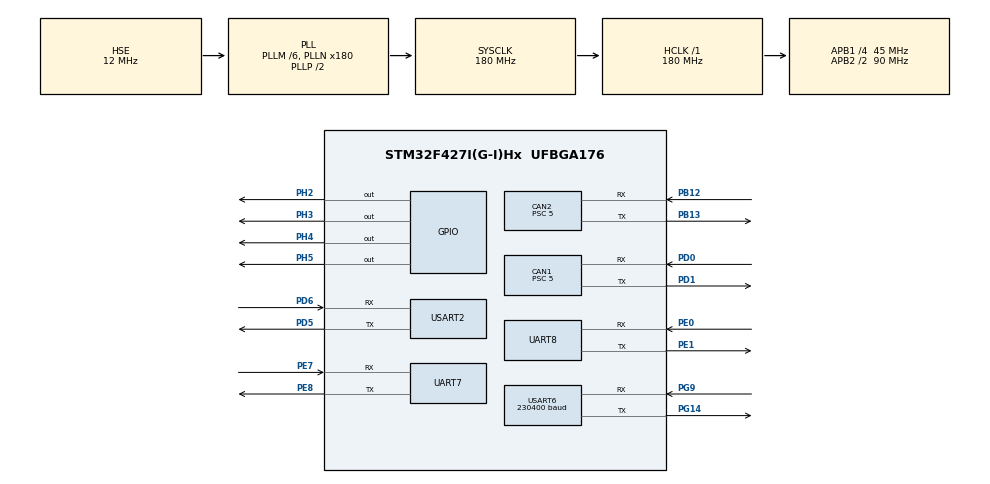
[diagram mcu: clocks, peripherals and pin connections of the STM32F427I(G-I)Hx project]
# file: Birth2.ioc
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CAN1.ABOM=ENABLE
CAN1.BS1=CAN_BS1_3TQ
CAN1.BS2=CAN_BS2_5TQ
CAN1.CalculateBaudRate=1000000
CAN1.CalculateTimeBit=1000
CAN1.CalculateTimeQuantum=111.11111111111111
CAN1.Prescaler=5
CAN2.ABOM=ENABLE
CAN2.BS1=CAN_BS1_3TQ
CAN2.BS2=CAN_BS2_5TQ
CAN2.CalculateBaudRate=1000000
CAN2.CalculateTimeBit=1000
CAN2.CalculateTimeQuantum=111.11111111111111
CAN2.Prescaler=5
CAN2.SJW=CAN_SJW_4TQ
Dma.Request0=UART8_RX
Dma.Request1=UART7_RX
Dma.UART7_RX.1.Direction=DMA_PERIPH_TO_MEMORY
Dma.UART7_RX.1.FIFOMode=DMA_FIFOMODE_DISABLE
Dma.UART7_RX.1.Instance=DMA1_Stream3
Dma.UART7_RX.1.MemDataAlignment=DMA_MDATAALIGN_BYTE
Dma.UART7_RX.1.MemInc=DMA_MINC_ENABLE
Dma.UART7_RX.1.Mode=DMA_NORMAL
Dma.UART7_RX.1.PeriphDataAlignment=DMA_PDATAALIGN_BYTE
Dma.UART7_RX.1.PeriphInc=DMA_PINC_DISABLE
Dma.UART7_RX.1.Priority=DMA_PRIORITY_VERY_HIGH
Dma.UART8_RX.0.Direction=DMA_PERIPH_TO_MEMORY
Dma.UART8_RX.0.FIFOMode=DMA_FIFOMODE_DISABLE
Dma.UART8_RX.0.Instance=DMA1_Stream6
Dma.UART8_RX.0.MemDataAlignment=DMA_MDATAALIGN_BYTE
Dma.UART8_RX.0.MemInc=DMA_MINC_ENABLE
Dma.UART8_RX.0.Mode=DMA_CIRCULAR
Dma.UART8_RX.0.PeriphDataAlignment=DMA_PDATAALIGN_BYTE
Dma.UART8_RX.0.PeriphInc=DMA_PINC_DISABLE
Dma.UART8_RX.0.Priority=DMA_PRIORITY_LOW
FREERTOS.Tasks01=defaultTask,0,256,StartDefaultTask,Default,NULL,Dynamic,NULL,NULL;PID_Control,-3,256,PID_Control_Function,Default,NULL,Dynamic,NULL,NULL;Move_control,-3,256,Move_control_task,Default,NULL,Dynamic,NULL,NULL
FREERTOS.configMINIMAL_STACK_SIZE=128
Mcu.Family=STM32F4
Mcu.Name=STM32F427I(G-I)Hx
Mcu.Package=UFBGA176
NVIC.CAN1_RX0_IRQn=true\:5\:0\:false\:false\:true\:true\:true\:true\:true
NVIC.CAN1_TX_IRQn=true\:5\:0\:false\:false\:true\:true\:true\:true\:true
NVIC.CAN2_RX0_IRQn=true\:5\:0\:false\:false\:true\:true\:true\:true\:true
NVIC.CAN2_TX_IRQn=true\:5\:0\:false\:false\:true\:true\:true\:true\:true
NVIC.DMA1_Stream3_IRQn=true\:5\:0\:false\:false\:true\:true\:false\:true\:true
NVIC.DMA1_Stream6_IRQn=true\:5\:0\:false\:false\:true\:true\:false\:true\:true
NVIC.PriorityGroup=NVIC_PRIORITYGROUP_4
NVIC.TIM6_DAC_IRQn=true\:15\:0\:false\:false\:true\:false\:false\:true\:true
NVIC.TIM7_IRQn=true\:5\:0\:false\:false\:true\:true\:true\:true\:true
NVIC.TimeBase=TIM6_DAC_IRQn
NVIC.TimeBaseIP=TIM6
NVIC.USART2_IRQn=true\:5\:0\:false\:false\:true\:true\:true\:true\:true
NVIC.USART6_IRQn=true\:5\:0\:false\:false\:true\:true\:true\:true\:true
PB12.Mode=CAN_Activate
PB12.Signal=CAN2_RX
PB13.Mode=CAN_Activate
PB13.Signal=CAN2_TX
PD0.Mode=CAN_Activate
PD0.Signal=CAN1_RX
PD1.Mode=CAN_Activate
PD1.Signal=CAN1_TX
PD5.Mode=Asynchronous
PD5.Signal=USART2_TX
PD6.Mode=Asynchronous
PD6.Signal=USART2_RX
PE0.Mode=Asynchronous
PE0.Signal=UART8_RX
PE1.Mode=Asynchronous
PE1.Signal=UART8_TX
PE7.Mode=Asynchronous
PE7.Signal=UART7_RX
PE8.Mode=Asynchronous
PE8.Signal=UART7_TX
PG14.Mode=Asynchronous
PG14.Signal=USART6_TX
PG9.Mode=Asynchronous
PG9.Signal=USART6_RX
PH0/OSC_IN.Mode=HSE-External-Oscillator
PH0/OSC_IN.Signal=RCC_OSC_IN
PH1/OSC_OUT.Mode=HSE-External-Oscillator
PH1/OSC_OUT.Signal=RCC_OSC_OUT
PH2.GPIO_PuPd=GPIO_PULLUP
PH2.GPIO_Speed=GPIO_SPEED_FREQ_VERY_HIGH
PH2.PinState=GPIO_PIN_SET
PH2.Signal=GPIO_Output
PH3.GPIO_PuPd=GPIO_PULLUP
PH3.GPIO_Speed=GPIO_SPEED_FREQ_VERY_HIGH
PH3.PinState=GPIO_PIN_SET
PH3.Signal=GPIO_Output
PH4.GPIO_ModeDefaultOutputPP=GPIO_MODE_OUTPUT_PP
PH4.GPIO_PuPd=GPIO_PULLUP
PH4.GPIO_Speed=GPIO_SPEED_FREQ_VERY_HIGH
PH4.PinState=GPIO_PIN_SET
PH4.Signal=GPIO_Output
PH5.GPIO_PuPd=GPIO_PULLUP
PH5.GPIO_Speed=GPIO_SPEED_FREQ_VERY_HIGH
PH5.PinState=GPIO_PIN_SET
PH5.Signal=GPIO_Output
ProjectManager.HeapSize=0x200
ProjectManager.StackSize=0x400
ProjectManager.TargetToolchain=MDK-ARM V5
RCC.48MHZClocksFreq_Value=90000000
RCC.AHBFreq_Value=180000000
RCC.APB1CLKDivider=RCC_HCLK_DIV4
RCC.APB1Freq_Value=45000000
RCC.APB1TimFreq_Value=90000000
RCC.APB2CLKDivider=RCC_HCLK_DIV2
RCC.APB2Freq_Value=90000000
RCC.APB2TimFreq_Value=180000000
RCC.CortexFreq_Value=180000000
RCC.HCLKFreq_Value=180000000
RCC.HSE_VALUE=12000000
RCC.HSI_VALUE=16000000
RCC.LSE_VALUE=32768
RCC.PLLM=6
RCC.PLLN=180
RCC.PLLSourceVirtual=RCC_PLLSOURCE_HSE
RCC.SYSCLKFreq_VALUE=180000000
RCC.SYSCLKSource=RCC_SYSCLKSOURCE_PLLCLK
RCC.VCOOutputFreq_Value=360000000
TIM7.AutoReloadPreload=TIM_AUTORELOAD_PRELOAD_ENABLE
TIM7.Period=4999
TIM7.Prescaler=8999
UART7.VirtualMode=Asynchronous
UART8.VirtualMode=Asynchronous
USART2.VirtualMode=VM_ASYNC
USART6.BaudRate=230400
USART6.VirtualMode=VM_ASYNC
VP_FREERTOS_VS_CMSIS_V1.Mode=CMSIS_V1
VP_SYS_VS_tim6.Mode=TIM6
VP_TIM7_VS_ClockSourceINT.Mode=Enable_Timer
board=custom

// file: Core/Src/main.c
/* USER CODE BEGIN Header */
/**
  ******************************************************************************
  * @file           : main.c
  * @brief          : Main program body
  ******************************************************************************
  * @attention
  *
  * Copyright (c) 2024 STMicroelectronics.
  * All rights reserved.
  *
  * This software is licensed under terms that can be found in the LICENSE file
  * in the root directory of this software component.
  * If no LICENSE file comes with this software, it is provided AS-IS.
  *
  ******************************************************************************
  */
/* USER CODE END Header */
#include "main.h"
#include "cmsis_os.h"
#include "can.h"
#include "dma.h"
#include "tim.h"
#include "usart.h"
#include "gpio.h"

/* USER CODE BEGIN Includes */
#include "CAN_receive.h"
#include "pid.h"
/* USER CODE END Includes */

void SystemClock_Config(void);
void MX_FREERTOS_Init(void);

/* USER CODE BEGIN 0 */
extern void USR_UartInit(void);
extern void can_filter_init(void);
const motor_measure_t *motor_data_0,*motor_data_1,*motor_data_2,*motor_data_3;
pid_type_def motor_pid_0,motor_pid_1,motor_pid_2,motor_pid_3;					//????PID???????
pid_type_def angle_pid,rof_pid;
float set_speed_0,set_speed_1,set_speed_2,set_speed_3 =0;
extern uint8_t RxByte,Jetson_RxByte;
extern uint8_t Uart3_Receive_buf[1];
const fp32 PID_data_0[8]={2.8f, 0.08f, 1.4f, 5, 3, 3, 0.02, 0.02};	//P,I,D,bas_kp,kp_gain,max_I,cp,ci
const fp32 PID_data_1[8]={2.8f, 0.08f, 1.4f, 5, 3, 3, 0.02, 0.02};	//P,I,D,bas_kp,kp_gain,max_I,cp,ci
const fp32 PID_data_2[8]={2.8f, 0.08f, 1.4f, 5, 3, 3, 0.02, 0.02};	//P,I,D,bas_kp,kp_gain,max_I,cp,ci
const fp32 PID_data_3[8]={2.8f, 0.08f, 1.4f, 5, 3, 3, 0.02, 0.02};	//P,I,D,bas_kp,kp_gain,max_I,cp,ci

int inital_all_flag = 0;

const fp32 PID_data_4[8]={30, 0, 0, 8, 0 , 0, 0.02, 0.02};	//P,I,D,bas_kp,kp_gain,max_I,cp,ci

//tof
const fp32 PID_tof_data[8]={2.4f, 0, 0.12f, 3, 0, 0, 0.02, 0.02};	//P,I,D,bas_kp,kp_gain,max_I,cp,ci
/* USER CODE END 0 */

int main(void)
{

  /* MCU Configuration--------------------------------------------------------*/

  /* Reset of all peripherals, Initializes the Flash interface and the Systick. */
  HAL_Init();

  /* Configure the system clock */
  SystemClock_Config();

  /* Initialize all configured peripherals */
  MX_GPIO_Init();

  MX_DMA_Init();
  MX_UART7_Init();
  MX_UART8_Init();

  MX_CAN1_Init();
  MX_CAN2_Init();
	USR_UartInit();
	can_filter_init();
	initFilters();

	MX_USART6_UART_Init();
	MX_USART2_UART_Init();
  MX_TIM7_Init();
  /* USER CODE BEGIN 2 */
	HAL_TIM_Base_Start_IT(&htim7);
	HAL_UART_Receive_IT(&huart2, &RxByte, 1);
	HAL_UART_Receive_IT(&huart6,Uart3_Receive_buf,sizeof(Uart3_Receive_buf));//串口5回调函数执行完毕之后，需要再次开启接收中断等待下一次接收中断的发生

	motor_data_0 = get_chassis_motor_measure_point(0);
	motor_data_1 = get_chassis_motor_measure_point(1);
	motor_data_2 = get_chassis_motor_measure_point(2);
	motor_data_3 = get_chassis_motor_measure_point(3);
	PID_init(&motor_pid_0,PID_POSITION,PID_data_0,3000,3000);
	PID_init(&motor_pid_1,PID_POSITION,PID_data_1,3000,3000);
	PID_init(&motor_pid_2,PID_POSITION,PID_data_2,3000,3000);
	PID_init(&motor_pid_3,PID_POSITION,PID_data_3,3000,3000);
  PID_init(&angle_pid,PID_POSITION,PID_data_4,1000,1000);
	PID_init(&rof_pid,PID_POSITION,PID_tof_data,800,800);
	HAL_Delay(1000);

  /* USER CODE END 2 */

  /* Call init function for freertos objects (in freertos.c) */
  MX_FREERTOS_Init();

  /* Start scheduler */
  osKernelStart();

  /* We should never get here as control is now taken by the scheduler */
  /* Infinite loop */
  while (1)
  {

  }
}

void SystemClock_Config(void)
{
  RCC_OscInitTypeDef RCC_OscInitStruct = {0};
  RCC_ClkInitTypeDef RCC_ClkInitStruct = {0};

  /** Configure the main internal regulator output voltage
  */
  __HAL_RCC_PWR_CLK_ENABLE();
  __HAL_PWR_VOLTAGESCALING_CONFIG(PWR_REGULATOR_VOLTAGE_SCALE1);

  /** Initializes the RCC Oscillators according to the specified parameters
  * in the RCC_OscInitTypeDef structure.
  */
  RCC_OscInitStruct.OscillatorType = RCC_OSCILLATORTYPE_HSE;
  RCC_OscInitStruct.HSEState = RCC_HSE_ON;
  RCC_OscInitStruct.PLL.PLLState = RCC_PLL_ON;
  RCC_OscInitStruct.PLL.PLLSource = RCC_PLLSOURCE_HSE;
  RCC_OscInitStruct.PLL.PLLM = 6;
  RCC_OscInitStruct.PLL.PLLN = 180;
  RCC_OscInitStruct.PLL.PLLP = RCC_PLLP_DIV2;
  RCC_OscInitStruct.PLL.PLLQ = 4;
  if (HAL_RCC_OscConfig(&RCC_OscInitStruct) != HAL_OK)
  {
    Error_Handler();
  }

  /** Activate the Over-Drive mode
  */
  if (HAL_PWREx_EnableOverDrive() != HAL_OK)
  {
    Error_Handler();
  }

  /** Initializes the CPU, AHB and APB buses clocks
  */
  RCC_ClkInitStruct.ClockType = RCC_CLOCKTYPE_HCLK|RCC_CLOCKTYPE_SYSCLK
                              |RCC_CLOCKTYPE_PCLK1|RCC_CLOCKTYPE_PCLK2;
  RCC_ClkInitStruct.SYSCLKSource = RCC_SYSCLKSOURCE_PLLCLK;
  RCC_ClkInitStruct.AHBCLKDivider = RCC_SYSCLK_DIV1;
  RCC_ClkInitStruct.APB1CLKDivider = RCC_HCLK_DIV4;
  RCC_ClkInitStruct.APB2CLKDivider = RCC_HCLK_DIV2;

  if (HAL_RCC_ClockConfig(&RCC_ClkInitStruct, FLASH_LATENCY_5) != HAL_OK)
  {
    Error_Handler();
  }
}

void HAL_TIM_PeriodElapsedCallback(TIM_HandleTypeDef *htim)
{
  if (htim->Instance == TIM6) {
    HAL_IncTick();
  }
  /* USER CODE BEGIN Callback 1 */
  if (htim->Instance == TIM7) {
		inital_all_flag += 1;
  }
  /* USER CODE END Callback 1 */
}

void Error_Handler(void)
{
  __disable_irq();
  while (1)
  {
  }
}

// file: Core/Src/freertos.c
/* USER CODE BEGIN Header */
/**
 ******************************************************************************
 * File Name          : freertos.c
 * Description        : Code for freertos applications
 ******************************************************************************
 * @attention
 *
 * Copyright (c) 2024 STMicroelectronics.
 * All rights reserved.
 *
 * This software is licensed under terms that can be found in the LICENSE file
 * in the root directory of this software component.
 * If no LICENSE file comes with this software, it is provided AS-IS.
 *
 ******************************************************************************
 */
/* USER CODE END Header */

#include "FreeRTOS.h"
#include "task.h"
#include "main.h"
#include "cmsis_os.h"

/* USER CODE BEGIN Includes */
#include "can.h"
#include <string.h>
#include <stdio.h>
#include "CAN_receive.h"
#include "pid.h"
#include "IMU.h"
#include "move_way.h"
#include "Steering.h"
/* USER CODE END Includes */

/* USER CODE BEGIN Variables */
extern unsigned char uart8Rx[32],uart6Tx[32],uart7Rx[32];
extern UART_HandleTypeDef huart8,huart7,huart6,huart2;
extern unsigned int jeston_flag;
extern uint8_t RxByte;
extern void ANO_sent_data(int16 A, int16 B, int16 C, int16 D, int16 E, int16 F, int16 G, int16 H, int16 I, int16 J);
extern pid_type_def motor_pid_0,motor_pid_1,motor_pid_2,motor_pid_3,angle_pid,rof_pid;
float vx,vy,vw = 0;
int set_v,set_spd[4];
extern uint8_t uart6Rx[32];
extern uint16_t uart6RxLength;
extern float set_speed_0,set_speed_1,set_speed_2,set_speed_3;
extern motor_measure_t *motor_data_0,*motor_data_1,*motor_data_2,*motor_data_3;
extern int test_flag;
extern char jetson_data[2];
extern void Jetson_read(unsigned char *data);
int st = 0;
float error_tof_y,error_tof_x = 0;
extern int waiting_up,half_move;
int rolling_flag =0;
float turning_angle = 0;
int go_to_roll = 0;
float comp_angle = 0;
int stt = 3;
extern int CR_flag,N_flag;
int crmm = 3;
char last_jetson_data[2];
extern uint16_t distance;
extern int level[5];
extern pid_type_def angle_pid,rof_pid;
int tof_y = 0;
int tof_x = 0;
extern uint16 TOF_value[4];
extern TIM_HandleTypeDef htim7;
extern int inital_all_flag;
extern int ending;
int temp = 0;
int temp2 = 0;
int jk_flag = 0;
/* USER CODE END Variables */
osThreadId defaultTaskHandle;
osThreadId PID_ControlHandle;
osThreadId Move_controlHandle;

/* USER CODE BEGIN FunctionPrototypes */

extern uint8 up_done_flag;
void move_solution(float vx, float vy, float vw){
  static float rotate_ratio_f = 1.;
  static float wheel_rpm_ratio = 1.;
  static float rotate_ratio_b = 1.;
    //wheel_rpm_ratio = 60.0f/(PERIMETER*CHASSIS_DECELE_RATIO); //mm/s = 60/(???????*?????(19??1)) rpm
    //rotate_ratio_f =  (WHEELBASE+WHEELTRACK)/2.0f/RADIAN_COEF; //(rad/s)/57.3 = deg/s
    set_speed_0 = (-vy + vx + vw * rotate_ratio_f) * wheel_rpm_ratio;
    set_speed_1 = (vy + vx + vw * rotate_ratio_b) * wheel_rpm_ratio;
    set_speed_2 = (vy - vx + vw * rotate_ratio_f) * wheel_rpm_ratio;
    set_speed_3 = (-vy - vx + vw * rotate_ratio_b) * wheel_rpm_ratio;
}

/* USER CODE END FunctionPrototypes */

void StartDefaultTask(void const * argument);
void PID_Control_Function(void const * argument);
void Move_control_task(void const * argument);

void MX_FREERTOS_Init(void); /* (MISRA C 2004 rule 8.1) */

/* GetIdleTaskMemory prototype (linked to static allocation support) */
void vApplicationGetIdleTaskMemory( StaticTask_t **ppxIdleTaskTCBBuffer, StackType_t **ppxIdleTaskStackBuffer, uint32_t *pulIdleTaskStackSize );

/* USER CODE BEGIN GET_IDLE_TASK_MEMORY */
static StaticTask_t xIdleTaskTCBBuffer;
static StackType_t xIdleStack[configMINIMAL_STACK_SIZE];

void vApplicationGetIdleTaskMemory(StaticTask_t **ppxIdleTaskTCBBuffer, StackType_t **ppxIdleTaskStackBuffer, uint32_t *pulIdleTaskStackSize)
{
  *ppxIdleTaskTCBBuffer = &xIdleTaskTCBBuffer;
  *ppxIdleTaskStackBuffer = &xIdleStack[0];
  *pulIdleTaskStackSize = configMINIMAL_STACK_SIZE;
  /* place for user code */
}
/* USER CODE END GET_IDLE_TASK_MEMORY */

void MX_FREERTOS_Init(void) {

  /* Create the thread(s) */
  /* definition and creation of defaultTask */
  osThreadDef(defaultTask, StartDefaultTask, osPriorityNormal, 0, 256);
  defaultTaskHandle = osThreadCreate(osThread(defaultTask), NULL);

  /* definition and creation of PID_Control */
  osThreadDef(PID_Control, PID_Control_Function, osPriorityIdle, 0, 256);
  PID_ControlHandle = osThreadCreate(osThread(PID_Control), NULL);

  /* definition and creation of Move_control */
  osThreadDef(Move_control, Move_control_task, osPriorityIdle, 0, 256);
  Move_controlHandle = osThreadCreate(osThread(Move_control), NULL);

}

void StartDefaultTask(void const * argument)
{
  /* USER CODE BEGIN StartDefaultTask */
  /* Infinite loop */

  for (;;)
  {
    //ANO_sent_data(motor_data_0->speed_rpm, motor_data_1->speed_rpm, motor_data_2->speed_rpm, motor_data_3->speed_rpm, (int16)vw,(int16)heading_deg, set_speed_0, set_speed_1,set_speed_2 , set_speed_3);
		//ANO_sent_data(mot1`		or_data_0->speed_rpm, set_speed_0,(int16)motor_pid_0.Pout,(int16)gein, (int16)bss,(int16)motor_pid_0.Iout, (int16)motor_pid_0.Ki,(int16)motor_pid_0.Kp ,(int16)motor_pid_0.Pout ,(int16)motor_pid_0.Dout);
		//ANO_sent_data(motor_data_0->speed_rpm,(int16)set_speed_0, (int16)motor_pid_0.out,(int16)motor_pid_0.Pout, (int16)motor_pid_0.Iout,(int16)motor_pid_0.Dout, (int16)motor_pid_0.error[0],0 ,0,0);
		//ANO_sent_data((int16)vx,(int16)(TOF3-270), (int16)(TOF2-270),(int16)TOF1, 850,0,0 ,0,0,0);
		//ANO_sent_data((int16)TOF2,(int16)vw, (int16)vx,(int16)motor_pid_0.Pout, (int16)motor_pid_0.Iout,(int16)motor_data_0->speed_rpm,(int16)set_speed_0 ,0,0,0);
		//ANO_sent_data((int16)TOF1,(int16)(TOF1-TOF4), (int16)TOF3,(int16)vw, (int16)motor_data_0->speed_rpm,(int16)set_speed_0, 0,0,0,0);
			for(int i = 0;i<4;i++){
				if(uart7Rx[i] == 'A'){
					temp = i + 1;
					if(temp>=4)temp-=4;
					jetson_data[0] = uart7Rx[temp];
					temp2 = i + 2;
					if(temp2>=4)temp2-=4;
					jetson_data[1] = uart7Rx[temp2];
				}
			}
			if(jetson_data[0] == 'J' && jetson_data[1] == 'K'){
				jeston_flag = 1;
			}else if(jetson_data[0] == 'S' && jetson_data[1] == 'T'){
				jeston_flag = 2;
			}else if(jetson_data[0] == 'R' && jetson_data[1] == 'G'){
				jeston_flag = 3;
			}else if(jetson_data[0] == 'C' && jetson_data[1] == 'D'){
				jeston_flag = 4;
				test_flag = 1;
			}else if(jetson_data[0] == 'H' && jetson_data[1] == 'J'){
				jeston_flag = 5;
			}else if(jetson_data[0] == 'B' && jetson_data[1] == 'K'){
				jeston_flag = 6;
			}
			if(CR_flag == 1){
				if(crmm>0){
					HAL_UART_Transmit(&huart7, (uint8_t *)"AFMB", strlen("AFMB"), 999);
					crmm--;
				}else{
					CR_flag = 0;
					crmm = 3;
				}
			}
			if(last_jetson_data[0]!=jetson_data[0]&& last_jetson_data[1]!=jetson_data[1]){
				last_jetson_data[0] = jetson_data[0];
				last_jetson_data[1] = jetson_data[1];
				jk_flag = 3;
			}
			if(jeston_flag != 1 && jk_flag>0){
					HAL_UART_Transmit(&huart7, (uint8_t *)"AJKB", strlen("AJKB"), 999);
					jk_flag --;
			}
    osDelay(5);
  }
  /* USER CODE END StartDefaultTask */
}

/* USER CODE BEGIN Header_PID_Control_Function */
/**
 * @brief Function implementing the PID_Control thread.=
 * @param argument: Not used
 * @retval None
 */
/* USER CODE END Header_PID_Control_Function */
void PID_Control_Function(void const * argument)
{
  /* USER CODE BEGIN PID_Control_Function */
  /* Infinite loop */
  for (;;)
  {

		if(initial_flag == 1&&inital_all_flag>=25){//
			HAL_TIM_Base_Stop_IT(&htim7);
			if(stt > 0){
				HAL_UART_Transmit(&huart7, (uint8_t *)"AGNB", strlen("AGNB"), 999);
				stt --;
			}
			if(jeston_flag == 2){//jeston command to "Stop"
				vx = 0;
			  vy = 0;
			}
			move_solution (vx,vy,vw);
			PID_calc(&motor_pid_0, motor_data_0->speed_rpm, set_speed_0);
			PID_calc(&motor_pid_1, motor_data_1->speed_rpm, set_speed_1);
			PID_calc(&motor_pid_2, motor_data_2->speed_rpm, set_speed_2);
			PID_calc(&motor_pid_3, motor_data_3->speed_rpm, set_speed_3);
			CAN_cmd_chassis(motor_pid_0.out,motor_pid_1.out, motor_pid_2.out, motor_pid_3.out);
		}
    osDelay(2);
	}
  /* USER CODE END PID_Control_Function */
}

void Move_control_task(void const * argument)
{
  /* USER CODE BEGIN Move_control_task */
  /* Infinite loop */
  for(;;)
  {
		TOF1 = TOF_value[0];
		TOF2 = TOF_value[1];
		TOF3 = TOF_value[2];
		TOF4 = TOF_value[3];
		 tof_x = (TOF2+TOF3)/2;
		 tof_y = (TOF1+TOF4)/2;
		if(inital_all_flag>=25){
			if(rolling_flag == 0){
				error_tof_y = TOF1-TOF4;
				error_tof_x = TOF2-TOF3;
				if(go_to_roll == 0 &&(ending == 0)){
					vw = -pid_more_w(error_tof_y);
				}
			}else{
				turning_angle = initial_angle + 170;
				comp_angle = (heading_deg<-90)?360 + heading_deg: heading_deg;
				if(comp_angle<turning_angle){
					vw = 600;
				}else{
					rolling_flag = 0;
				}
			}
			if(test_flag == 0){
				move_to_desk2();
				if(initial_flag == 1)up_move(245,2);
			}else if(test_flag == 1){
				move_to_container2();
			}

		}
//		if(inital_all_flag>=10){
//				up_move(level1,1);
//		}
		TTL_Hex2Dec();
    osDelay(2);
  }
  /* USER CODE END Move_control_task */
}
